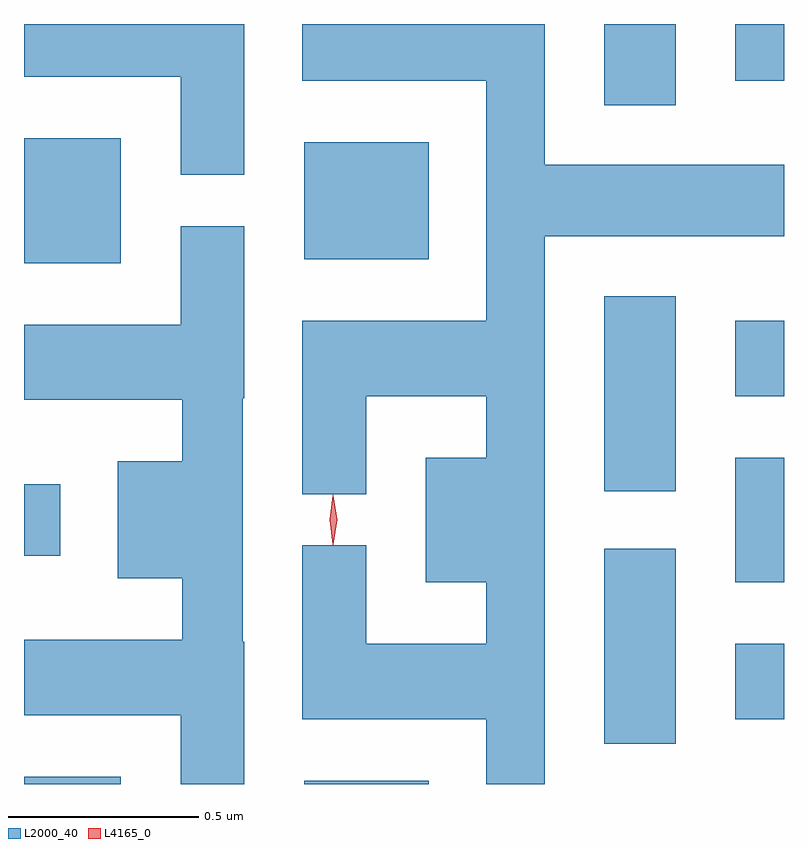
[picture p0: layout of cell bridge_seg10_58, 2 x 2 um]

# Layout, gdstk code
import gdstk
lib = gdstk.Library(unit=1e-6, precision=1e-09)
def R(c, l, rs):  # rectangles x0, y0, x1, y1
    for r in rs: c.add(gdstk.rectangle(r[:2], r[2:], *l))
def P(c, l, *ps):  # polygons
    for p in ps: c.add(gdstk.Polygon(p, *l))
L2000_40 = (2000, 40)
L4165_0 = (4165, 0)

bridge_seg10_58 = lib.new_cell('bridge_seg10_58')
R(bridge_seg10_58, L2000_40, [(1624.189,2160.075,1624.444,2160.094), (1624.926,2160.075,1625.254,2160.084), (1625.716,2160.181,1625.904,2160.694), (1626.061,2160.246,1626.189,2160.444), (1626.061,2160.606,1626.189,2160.934), (1624.189,2160.676,1624.284,2160.864), (1625.716,2160.846,1625.904,2161.359), (1626.061,2161.096,1626.189,2161.294), (1624.189,2161.446,1624.444,2161.774), (1624.926,2161.456,1625.254,2161.764), (1625.716,2161.861,1625.904,2162.075), (1626.061,2161.926,1626.189,2162.075)])
P(bridge_seg10_58, L2000_40, [(1625.559,2161.516),(1626.189,2161.516),(1626.189,2161.704),(1625.559,2161.704),(1625.559,2162.075),(1624.921,2162.075),(1624.921,2161.926),(1625.406,2161.926),(1625.406,2161.294),(1624.921,2161.294),(1624.921,2160.838),(1625.089,2160.838),(1625.089,2161.096),(1625.406,2161.096),(1625.406,2160.934),(1625.246,2160.934),(1625.246,2160.606),(1625.406,2160.606),(1625.406,2160.444),(1625.089,2160.444),(1625.089,2160.703),(1624.921,2160.703),(1624.921,2160.246),(1625.406,2160.246),(1625.406,2160.075),(1625.559,2160.075)],
  [(1624.769,2162.075),(1624.189,2162.075),(1624.189,2161.936),(1624.601,2161.936),(1624.601,2161.678),(1624.769,2161.678)],
  [(1624.769,2160.45),(1624.764,2160.45),(1624.764,2161.09),(1624.769,2161.09),(1624.769,2161.543),(1624.601,2161.543),(1624.601,2161.284),(1624.189,2161.284),(1624.189,2161.086),(1624.606,2161.086),(1624.606,2160.924),(1624.436,2160.924),(1624.436,2160.616),(1624.606,2160.616),(1624.606,2160.454),(1624.189,2160.454),(1624.189,2160.256),(1624.601,2160.256),(1624.601,2160.075),(1624.769,2160.075)])
P(bridge_seg10_58, L4165_0, [(1625.003,2160.704),(1625.002,2160.705),(1624.993,2160.77),(1625.002,2160.835),(1625.003,2160.836),(1625.003,2160.835),(1625.013,2160.77),(1625.003,2160.705)])

lib.write_gds('bridge_seg10_58.gds')
